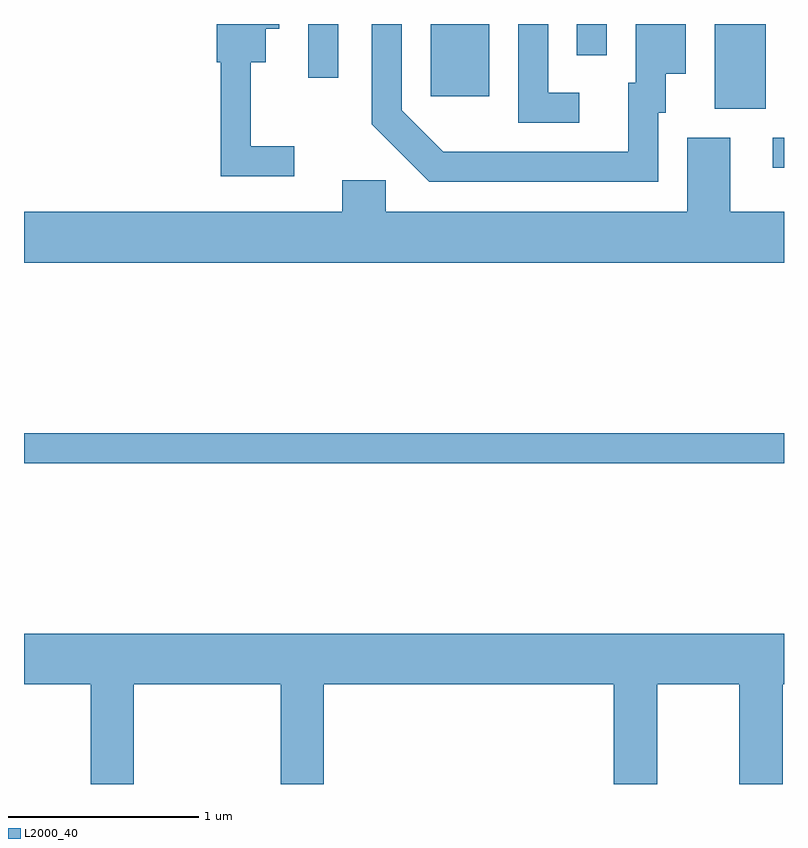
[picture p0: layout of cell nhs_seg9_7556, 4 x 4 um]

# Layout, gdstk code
import gdstk
lib = gdstk.Library(unit=1e-6, precision=1e-09)
def R(c, l, rs):  # rectangles x0, y0, x1, y1
    for r in rs: c.add(gdstk.rectangle(r[:2], r[2:], *l))
def P(c, l, *ps):  # polygons
    for p in ps: c.add(gdstk.Polygon(p, *l))
L2000_40 = (2000, 40)

nhs_seg9_7556 = lib.new_cell('nhs_seg9_7556')
R(nhs_seg9_7556, L2000_40, [(409.611,1964.121,413.611,1964.279), (413.553,1965.676,413.611,1965.834), (413.246,1965.986,413.514,1966.432), (411.751,1966.051,412.059,1966.432), (411.106,1966.148,411.264,1966.432), (412.521,1966.268,412.679,1966.432)])
P(nhs_seg9_7556, L2000_40, [(411.033,1965.789),(410.804,1965.789),(410.804,1966.231),(410.884,1966.231),(410.884,1966.406),(410.954,1966.406),(410.954,1966.432),(410.626,1966.432),(410.626,1966.231),(410.646,1966.231),(410.646,1965.631),(411.033,1965.631)],
  [(412.533,1966.069),(412.369,1966.069),(412.369,1966.432),(412.211,1966.432),(412.211,1965.911),(412.533,1965.911)],
  [(412.949,1965.966),(412.989,1965.966),(412.989,1966.171),(413.094,1966.171),(413.094,1966.432),(412.831,1966.432),(412.831,1966.124),(412.791,1966.124),(412.791,1965.759),(411.817,1965.759),(411.599,1965.977),(411.599,1966.432),(411.441,1966.432),(411.441,1965.904),(411.744,1965.601),(412.949,1965.601)],
  [(413.611,1965.444),(413.329,1965.444),(413.329,1965.834),(413.101,1965.834),(413.101,1965.444),(411.514,1965.444),(411.514,1965.609),(411.286,1965.609),(411.286,1965.444),(409.611,1965.444),(409.611,1965.176),(413.611,1965.176)],
  [(410.189,1962.956),(410.961,1962.956),(410.961,1962.432),(411.189,1962.432),(411.189,1962.956),(412.716,1962.956),(412.716,1962.432),(412.944,1962.432),(412.944,1962.956),(413.376,1962.956),(413.376,1962.432),(413.604,1962.432),(413.604,1962.956),(413.611,1962.956),(413.611,1963.224),(409.611,1963.224),(409.611,1962.956),(409.961,1962.956),(409.961,1962.432),(410.189,1962.432)])

lib.write_gds('nhs_seg9_7556.gds')
